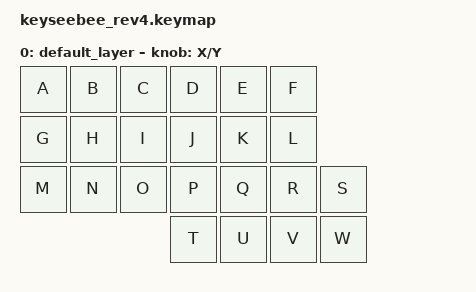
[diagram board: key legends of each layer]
/*
 * Copyright (c) 2020 The ZMK Contributors
 *
 * SPDX-License-Identifier: MIT
 */

#undef ZMK_BEHAVIORS_KEEP_ALL

#include <behaviors.dtsi>
#include <dt-bindings/zmk/keys.h>

/ {

    keymap {
        compatible = "zmk,keymap";

        default_layer {
            bindings = <
                &kp A  &kp B &kp C &kp D &kp E &kp F
                &kp G  &kp H &kp I &kp J &kp K &kp L
                &kp M  &kp N &kp O &kp P &kp Q &kp R &kp S
                                   &kp T &kp U &kp V &kp W
            >;
            sensor-bindings = <&inc_dec_kp X Y>;
        };
    };
};

